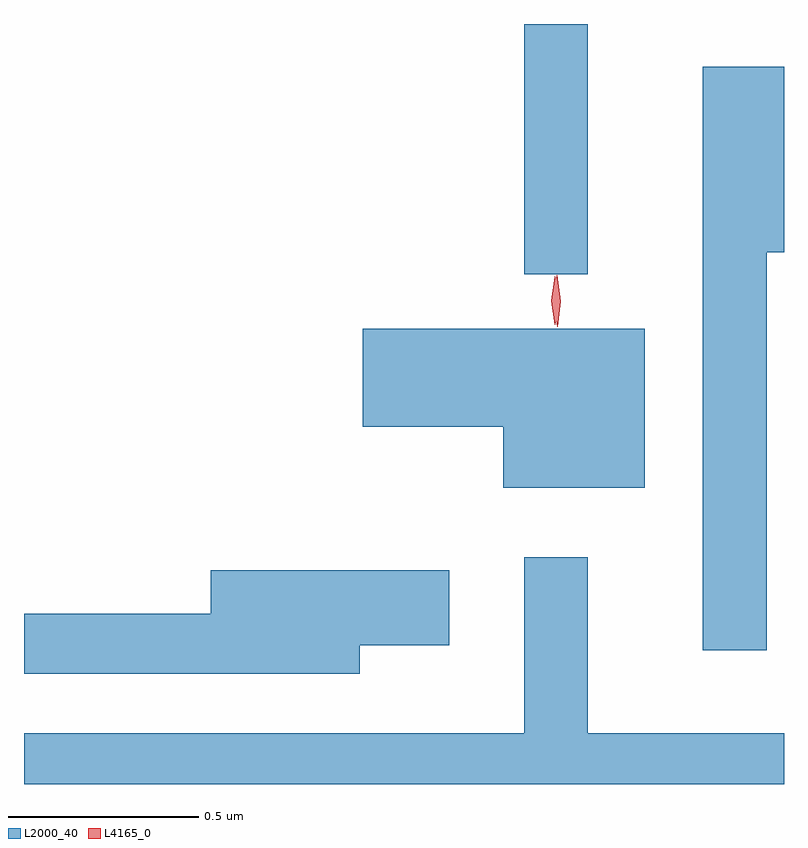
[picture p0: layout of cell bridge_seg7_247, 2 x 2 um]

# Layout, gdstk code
import gdstk
lib = gdstk.Library(unit=1e-6, precision=1e-09)
def R(c, l, rs):  # rectangles x0, y0, x1, y1
    for r in rs: c.add(gdstk.rectangle(r[:2], r[2:], *l))
def P(c, l, *ps):  # polygons
    for p in ps: c.add(gdstk.Polygon(p, *l))
L2000_40 = (2000, 40)
L4165_0 = (4165, 0)

bridge_seg7_247 = lib.new_cell('bridge_seg7_247')
R(bridge_seg7_247, L2000_40, [(1675.371,1718.013,1675.539,1718.671)])
P(bridge_seg7_247, L2000_40, [(1676.009,1718.071),(1676.055,1718.071),(1676.055,1718.559),(1675.841,1718.559),(1675.841,1717.023),(1676.009,1717.023)],
  [(1675.689,1717.869),(1674.946,1717.869),(1674.946,1717.611),(1675.316,1717.611),(1675.316,1717.451),(1675.689,1717.451)],
  [(1676.055,1716.804),(1675.539,1716.804),(1675.539,1717.268),(1675.371,1717.268),(1675.371,1716.804),(1674.055,1716.804),(1674.055,1716.671),(1676.055,1716.671)],
  [(1674.939,1717.036),(1675.174,1717.036),(1675.174,1717.234),(1674.546,1717.234),(1674.546,1717.119),(1674.055,1717.119),(1674.055,1716.961),(1674.939,1716.961)])
P(bridge_seg7_247, L4165_0, [(1675.458,1717.874),(1675.458,1717.874),(1675.448,1717.942),(1675.457,1718.01),(1675.458,1718.01),(1675.458,1718.01),(1675.468,1717.942),(1675.459,1717.874)],
  [(1675.452,1717.88),(1675.452,1717.88),(1675.442,1717.943),(1675.452,1718.006),(1675.452,1718.007),(1675.453,1718.006),(1675.462,1717.943),(1675.453,1717.88)])

lib.write_gds('bridge_seg7_247.gds')
